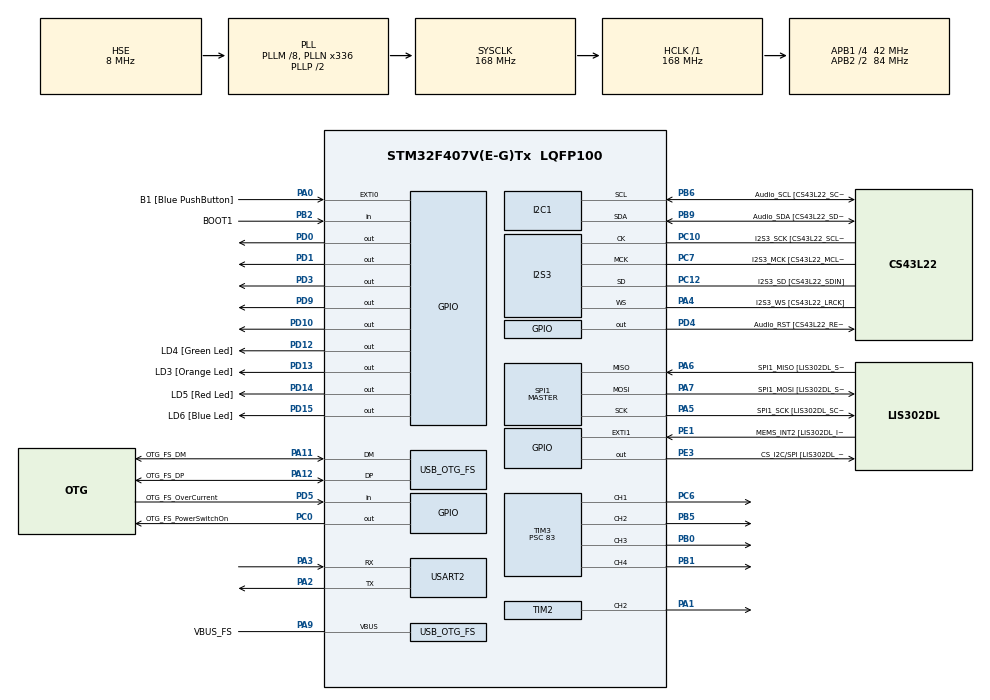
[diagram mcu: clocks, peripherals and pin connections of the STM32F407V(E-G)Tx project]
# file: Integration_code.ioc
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I2S3.AudioFreq-Half_Duplex_Master=I2S_AUDIOFREQ_96K
I2S3.ErrorAudioFreq=-2.34 %
I2S3.ErrorAudioFreq-Half_Duplex_Master=0.8 %
I2S3.FullDuplexMode=I2S_FULLDUPLEXMODE_DISABLE
I2S3.Instance=SPI$Index
I2S3.RealAudioFreq=93.75 KHz
I2S3.RealAudioFreq-Half_Duplex_Master=96.774 KHz
I2S3.VirtualMode=I2S_MODE_MASTER
Mcu.Family=STM32F4
Mcu.Name=STM32F407V(E-G)Tx
Mcu.Package=LQFP100
NVIC.OTG_FS_IRQn=true\:0\:0\:false\:false\:true\:true\:true\:true
NVIC.PriorityGroup=NVIC_PRIORITYGROUP_0
PA0-WKUP.GPIO_Label=B1 [Blue PushButton]
PA0-WKUP.GPIO_ModeDefaultEXTI=GPIO_MODE_EVT_RISING
PA0-WKUP.GPIO_PuPd=GPIO_NOPULL
PA0-WKUP.Signal=GPXTI0
PA1.Signal=S_TIM2_CH2
PA10.GPIO_Label=OTG_FS_ID
PA10.GPIO_Mode=GPIO_MODE_AF_PP
PA10.GPIO_PuPd=GPIO_NOPULL
PA10.GPIO_Speed=GPIO_SPEED_FREQ_LOW
PA10.Signal=USB_OTG_FS_ID
PA11.GPIO_Label=OTG_FS_DM
PA11.GPIO_Mode=GPIO_MODE_AF_PP
PA11.GPIO_PuPd=GPIO_NOPULL
PA11.GPIO_Speed=GPIO_SPEED_FREQ_LOW
PA11.Mode=Host_Only
PA11.Signal=USB_OTG_FS_DM
PA12.GPIO_Label=OTG_FS_DP
PA12.GPIO_Mode=GPIO_MODE_AF_PP
PA12.GPIO_PuPd=GPIO_NOPULL
PA12.GPIO_Speed=GPIO_SPEED_FREQ_LOW
PA12.Mode=Host_Only
PA12.Signal=USB_OTG_FS_DP
PA13.GPIO_Label=SWDIO
PA13.Mode=Serial_Wire
PA13.Signal=SYS_JTMS-SWDIO
PA14.GPIO_Label=SWCLK
PA14.Mode=Serial_Wire
PA14.Signal=SYS_JTCK-SWCLK
PA2.Mode=Asynchronous
PA2.Signal=USART2_TX
PA3.Mode=Asynchronous
PA3.Signal=USART2_RX
PA4.GPIO_Label=I2S3_WS [CS43L22_LRCK]
PA4.GPIO_Mode=GPIO_MODE_AF_PP
PA4.GPIO_PuPd=GPIO_NOPULL
PA4.GPIO_Speed=GPIO_SPEED_FREQ_LOW
PA4.Mode=Half_Duplex_Master
PA4.Signal=I2S3_WS
PA5.GPIO_Label=SPI1_SCK [LIS302DL_SCL/SPC]
PA5.GPIO_Mode=GPIO_MODE_AF_PP
PA5.GPIO_PuPd=GPIO_NOPULL
PA5.GPIO_Speed=GPIO_SPEED_FREQ_LOW
PA5.Mode=Full_Duplex_Master
PA5.Signal=SPI1_SCK
PA6.GPIO_Label=SPI1_MISO [LIS302DL_SDO]
PA6.GPIO_Mode=GPIO_MODE_AF_PP
PA6.GPIO_PuPd=GPIO_NOPULL
PA6.GPIO_Speed=GPIO_SPEED_FREQ_LOW
PA6.Mode=Full_Duplex_Master
PA6.Signal=SPI1_MISO
PA7.GPIO_Label=SPI1_MOSI [LIS302DL_SDA/SDI/SDO]
PA7.GPIO_Mode=GPIO_MODE_AF_PP
PA7.GPIO_PuPd=GPIO_NOPULL
PA7.GPIO_Speed=GPIO_SPEED_FREQ_LOW
PA7.Mode=Full_Duplex_Master
PA7.Signal=SPI1_MOSI
PA9.GPIO_Label=VBUS_FS
PA9.GPIO_Mode=GPIO_MODE_INPUT
PA9.GPIO_PuPd=GPIO_NOPULL
PA9.Mode=Activate_VBUS
PA9.Signal=USB_OTG_FS_VBUS
PB0.Signal=S_TIM3_CH3
PB1.Signal=S_TIM3_CH4
PB10.GPIO_Label=CLK_IN [MP45DT02_CLK]
PB10.GPIO_Mode=GPIO_MODE_AF_PP
PB10.GPIO_PuPd=GPIO_NOPULL
PB10.GPIO_Speed=GPIO_SPEED_FREQ_LOW
PB10.Signal=I2S2_CK
PB2.GPIO_Label=BOOT1
PB2.GPIO_Mode=GPIO_MODE_INPUT
PB2.GPIO_PuPd=GPIO_NOPULL
PB2.Signal=GPIO_Input
PB3.GPIO_Label=SWO
PB3.Signal=SYS_JTDO-SWO
PB5.Signal=S_TIM3_CH2
PB6.GPIO_Label=Audio_SCL [CS43L22_SCL]
PB6.GPIO_Mode=GPIO_MODE_AF_OD
PB6.GPIO_Pu=GPIO_PULLUP
PB6.GPIO_PuPd=GPIO_NOPULL
PB6.GPIO_Speed=GPIO_SPEED_FREQ_LOW
PB6.Mode=I2C
PB6.Signal=I2C1_SCL
PB9.GPIO_Label=Audio_SDA [CS43L22_SDA]
PB9.GPIO_Mode=GPIO_MODE_AF_OD
PB9.GPIO_Pu=GPIO_PULLUP
PB9.GPIO_PuPd=GPIO_NOPULL
PB9.GPIO_Speed=GPIO_SPEED_FREQ_LOW
PB9.Mode=I2C
PB9.Signal=I2C1_SDA
PC0.GPIO_Label=OTG_FS_PowerSwitchOn
PC0.GPIO_PuPd=GPIO_NOPULL
PC0.GPIO_Speed=GPIO_SPEED_FREQ_LOW
PC0.PinState=GPIO_PIN_SET
PC0.Signal=GPIO_Output
PC10.GPIO_Label=I2S3_SCK [CS43L22_SCLK]
PC10.GPIO_Mode=GPIO_MODE_AF_PP
PC10.GPIO_PuPd=GPIO_NOPULL
PC10.GPIO_Speed=GPIO_SPEED_FREQ_LOW
PC10.Mode=Half_Duplex_Master
PC10.Signal=I2S3_CK
PC12.GPIO_Label=I2S3_SD [CS43L22_SDIN]
PC12.GPIO_Mode=GPIO_MODE_AF_PP
PC12.GPIO_PuPd=GPIO_NOPULL
PC12.GPIO_Speed=GPIO_SPEED_FREQ_LOW
PC12.Mode=Half_Duplex_Master
PC12.Signal=I2S3_SD
PC14-OSC32_IN.GPIO_Label=PC14-OSC32_IN
PC14-OSC32_IN.Mode=LSE-External-Oscillator
PC14-OSC32_IN.Signal=RCC_OSC32_IN
PC15-OSC32_OUT.GPIO_Label=PC15-OSC32_OUT
PC15-OSC32_OUT.Mode=LSE-External-Oscillator
PC15-OSC32_OUT.Signal=RCC_OSC32_OUT
PC3.GPIO_Label=PDM_OUT [MP45DT02_DOUT]
PC3.GPIO_Mode=GPIO_MODE_AF_PP
PC3.GPIO_PuPd=GPIO_NOPULL
PC3.GPIO_Speed=GPIO_SPEED_FREQ_LOW
PC3.Signal=I2S2_SD
PC6.Signal=S_TIM3_CH1
PC7.GPIO_Label=I2S3_MCK [CS43L22_MCLK]
PC7.GPIO_Mode=GPIO_MODE_AF_PP
PC7.GPIO_PuPd=GPIO_NOPULL
PC7.GPIO_Speed=GPIO_SPEED_FREQ_LOW
PC7.Mode=Master_Clock_Activated
PC7.Signal=I2S3_MCK
PD0.Signal=GPIO_Output
PD1.Signal=GPIO_Output
PD10.Signal=GPIO_Output
PD12.GPIO_Label=LD4 [Green Led]
PD12.GPIO_PuPd=GPIO_NOPULL
PD12.GPIO_Speed=GPIO_SPEED_FREQ_LOW
PD12.Signal=GPIO_Output
PD13.GPIO_Label=LD3 [Orange Led]
PD13.GPIO_PuPd=GPIO_NOPULL
PD13.GPIO_Speed=GPIO_SPEED_FREQ_LOW
PD13.Signal=GPIO_Output
PD14.GPIO_Label=LD5 [Red Led]
PD14.GPIO_PuPd=GPIO_NOPULL
PD14.GPIO_Speed=GPIO_SPEED_FREQ_LOW
PD14.Signal=GPIO_Output
PD15.GPIO_Label=LD6 [Blue Led]
PD15.GPIO_PuPd=GPIO_NOPULL
PD15.GPIO_Speed=GPIO_SPEED_FREQ_LOW
PD15.Signal=GPIO_Output
PD3.Signal=GPIO_Output
PD4.GPIO_Label=Audio_RST [CS43L22_RESET]
PD4.GPIO_PuPd=GPIO_NOPULL
PD4.GPIO_Speed=GPIO_SPEED_FREQ_LOW
PD4.Signal=GPIO_Output
PD5.GPIO_Label=OTG_FS_OverCurrent
PD5.GPIO_Mode=GPIO_MODE_INPUT
PD5.GPIO_PuPd=GPIO_NOPULL
PD5.Signal=GPIO_Input
PD9.Signal=GPIO_Output
PE1.GPIO_Label=MEMS_INT2 [LIS302DL_INT2]
PE1.GPIO_ModeDefaultEXTI=GPIO_MODE_EVT_RISING
PE1.GPIO_PuPd=GPIO_NOPULL
PE1.Signal=GPXTI1
PE3.GPIO_Label=CS_I2C/SPI [LIS302DL_CS_I2C/SPI]
PE3.GPIO_PuPd=GPIO_NOPULL
PE3.GPIO_Speed=GPIO_SPEED_FREQ_LOW
PE3.Signal=GPIO_Output
PH0-OSC_IN.GPIO_Label=PH0-OSC_IN
PH0-OSC_IN.Mode=HSE-External-Oscillator
PH0-OSC_IN.Signal=RCC_OSC_IN
PH1-OSC_OUT.GPIO_Label=PH1-OSC_OUT
PH1-OSC_OUT.Mode=HSE-External-Oscillator
PH1-OSC_OUT.Signal=RCC_OSC_OUT
ProjectManager.HeapSize=0x200
ProjectManager.StackSize=0x400
ProjectManager.TargetToolchain=STM32CubeIDE
RCC.48MHZClocksFreq_Value=48000000
RCC.AHBFreq_Value=168000000
RCC.APB1CLKDivider=RCC_HCLK_DIV4
RCC.APB1Freq_Value=42000000
RCC.APB1TimFreq_Value=84000000
RCC.APB2CLKDivider=RCC_HCLK_DIV2
RCC.APB2Freq_Value=84000000
RCC.APB2TimFreq_Value=168000000
RCC.CortexFreq_Value=168000000
RCC.HCLKFreq_Value=168000000
RCC.HSE_VALUE=8000000
RCC.HSI_VALUE=16000000
RCC.PLLM=8
RCC.PLLN=336
RCC.PLLQ=7
RCC.SYSCLKFreq_VALUE=168000000
RCC.SYSCLKSource=RCC_SYSCLKSOURCE_PLLCLK
RCC.VCOOutputFreq_Value=336000000
SH.S_TIM2_CH2.0=TIM2_CH2,PWM Generation2 CH2
SH.S_TIM3_CH1.0=TIM3_CH1,PWM Generation1 CH1
SH.S_TIM3_CH2.0=TIM3_CH2,PWM Generation2 CH2
SH.S_TIM3_CH3.0=TIM3_CH3,PWM Generation3 CH3
SH.S_TIM3_CH4.0=TIM3_CH4,PWM Generation4 CH4
SPI1.BaudRatePrescaler-Full_Duplex_Master=SPI_BAUDRATEPRESCALER_2
SPI1.CalculateBaudRate-Full_Duplex_Master=42.0 MBits/s
SPI1.Direction=SPI_DIRECTION_2LINES
SPI1.Mode=SPI_MODE_MASTER
SPI1.Mode-Full_Duplex_Master=SPI_MODE_MASTER
SPI1.VirtualType=VM_MASTER
TIM2.Channel-PWM\ Generation2\ CH2=TIM_CHANNEL_2
TIM2.Prescaler=83
TIM3.Channel-PWM\ Generation1\ CH1=TIM_CHANNEL_1
TIM3.Channel-PWM\ Generation2\ CH2=TIM_CHANNEL_2
TIM3.Channel-PWM\ Generation3\ CH3=TIM_CHANNEL_3
TIM3.Channel-PWM\ Generation4\ CH4=TIM_CHANNEL_4
TIM3.Prescaler=83
USART2.VirtualMode=VM_ASYNC
USB_HOST.BSP.number=1
USB_HOST.USBH_HandleTypeDef-CDC_FS=hUsbHostFS
USB_HOST.VirtualModeFS=Cdc
USB_HOST0.BSP.STBoard=false
USB_HOST0.BSP.api=Unknown
USB_HOST0.BSP.instance=PC0
USB_HOST0.BSP.ip=GPIO
USB_HOST0.BSP.mode=Output
USB_HOST0.BSP.name=Drive_VBUS_FS
USB_HOST0.BSP.solution=PC0
USB_OTG_FS.VirtualMode=Host_Only
USB_OTG_FS.phy_itface=HCD_PHY_EMBEDDED
VP_USB_HOST_VS_USB_HOST_CDC_FS.Mode=CDC_FS
board=STM32F407G-DISC1

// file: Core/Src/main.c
/* USER CODE BEGIN Header */
/**
  ******************************************************************************
  * @file           : main.c
  * @brief          : Main program body
  ******************************************************************************
  * @attention
  *
  * Copyright (c) 2025 STMicroelectronics.
  * All rights reserved.
  *
  * This software is licensed under terms that can be found in the LICENSE file
  * in the root directory of this software component.
  * If no LICENSE file comes with this software, it is provided AS-IS.
  *
  ******************************************************************************
  */
/* USER CODE END Header */
#include "main.h"
#include "usb_host.h"

/* USER CODE BEGIN Includes */
#include <stdio.h>
#include <string.h>
#include <stdint.h>
#include <stdlib.h>
#include <math.h>
#include "bot.h"
//#include "user.h"
//#include "locomotion.h"

/* USER CODE END Includes */

I2C_HandleTypeDef hi2c1;

I2S_HandleTypeDef hi2s3;

SPI_HandleTypeDef hspi1;

TIM_HandleTypeDef htim2;
TIM_HandleTypeDef htim3;

UART_HandleTypeDef huart2;

/* USER CODE BEGIN PV */

//const uint8_t m1_dir_pin;
//const uint8_t m2_dir_pin;
//const uint8_t m3_dir_pin;
//const uint8_t m4_dir_pin;

/* USER CODE END PV */

void SystemClock_Config(void);
static void MX_GPIO_Init(void);
static void MX_I2C1_Init(void);
static void MX_I2S3_Init(void);
static void MX_SPI1_Init(void);
static void MX_TIM2_Init(void);
static void MX_USART2_UART_Init(void);
static void MX_TIM3_Init(void);
void MX_USB_HOST_Process(void);

int main(void)
{

  /* MCU Configuration--------------------------------------------------------*/

  /* Reset of all peripherals, Initializes the Flash interface and the Systick. */

  /* Configure the system clock */
  SystemClock_Config();

  /* Initialize all configured peripherals */
  MX_GPIO_Init();
  MX_I2C1_Init();
  MX_I2S3_Init();
  MX_SPI1_Init();
  MX_USB_HOST_Init();
  MX_TIM2_Init();
  MX_USART2_UART_Init();
  MX_TIM3_Init();

  /* Infinite loop */
  /* USER CODE BEGIN WHILE */
  HAL_TIM_PWM_Start(&htim3, TIM_CHANNEL_1);
  HAL_TIM_PWM_Start(&htim3, TIM_CHANNEL_2);
  HAL_TIM_PWM_Start(&htim3, TIM_CHANNEL_3);
  HAL_TIM_PWM_Start(&htim3, TIM_CHANNEL_4);

  printf("STM32 Ready\n");
  Servo_WriteAngle(&htim2, INITIAL_ANGLE);
  while (1)
  {
	  recieve_uart(&huart2);
//	  printf("LX = %.2f | LY = %.2f", LX_usr, LY_usr);
	  lo_4_wheel_handler(&htim3);
//	  rx_pkt.lx = 0;
//	  rx_pkt.ly = 0;
//	  rx_pkt.ry = 0;
//	  rx_pkt.ry = 0;
//
//	  LX_usr = 0;
//	  LY_usr = 0;
//	  RX_usr = 0;
//	  RY_usr = 0;

	  pnuematic_actuation();
    /* USER CODE END WHILE */
    MX_USB_HOST_Process();

  }
}

void SystemClock_Config(void)
{
  RCC_OscInitTypeDef RCC_OscInitStruct = {0};
  RCC_ClkInitTypeDef RCC_ClkInitStruct = {0};

  /** Configure the main internal regulator output voltage
  */
  __HAL_RCC_PWR_CLK_ENABLE();
  __HAL_PWR_VOLTAGESCALING_CONFIG(PWR_REGULATOR_VOLTAGE_SCALE1);

  /** Initializes the RCC Oscillators according to the specified parameters
  * in the RCC_OscInitTypeDef structure.
  */
  RCC_OscInitStruct.OscillatorType = RCC_OSCILLATORTYPE_HSE;
  RCC_OscInitStruct.HSEState = RCC_HSE_ON;
  RCC_OscInitStruct.PLL.PLLState = RCC_PLL_ON;
  RCC_OscInitStruct.PLL.PLLSource = RCC_PLLSOURCE_HSE;
  RCC_OscInitStruct.PLL.PLLM = 8;
  RCC_OscInitStruct.PLL.PLLN = 336;
  RCC_OscInitStruct.PLL.PLLP = RCC_PLLP_DIV2;
  RCC_OscInitStruct.PLL.PLLQ = 7;
  if (HAL_RCC_OscConfig(&RCC_OscInitStruct) != HAL_OK)
  {
    Error_Handler();
  }

  /** Initializes the CPU, AHB and APB buses clocks
  */
  RCC_ClkInitStruct.ClockType = RCC_CLOCKTYPE_HCLK|RCC_CLOCKTYPE_SYSCLK
                              |RCC_CLOCKTYPE_PCLK1|RCC_CLOCKTYPE_PCLK2;
  RCC_ClkInitStruct.SYSCLKSource = RCC_SYSCLKSOURCE_PLLCLK;
  RCC_ClkInitStruct.AHBCLKDivider = RCC_SYSCLK_DIV1;
  RCC_ClkInitStruct.APB1CLKDivider = RCC_HCLK_DIV4;
  RCC_ClkInitStruct.APB2CLKDivider = RCC_HCLK_DIV2;

  if (HAL_RCC_ClockConfig(&RCC_ClkInitStruct, FLASH_LATENCY_5) != HAL_OK)
  {
    Error_Handler();
  }
}

static void MX_I2C1_Init(void)
{

  hi2c1.Instance = I2C1;
  hi2c1.Init.ClockSpeed = 100000;
  hi2c1.Init.DutyCycle = I2C_DUTYCYCLE_2;
  hi2c1.Init.OwnAddress1 = 0;
  hi2c1.Init.AddressingMode = I2C_ADDRESSINGMODE_7BIT;
  hi2c1.Init.DualAddressMode = I2C_DUALADDRESS_DISABLE;
  hi2c1.Init.OwnAddress2 = 0;
  hi2c1.Init.GeneralCallMode = I2C_GENERALCALL_DISABLE;
  hi2c1.Init.NoStretchMode = I2C_NOSTRETCH_DISABLE;
  if (HAL_I2C_Init(&hi2c1) != HAL_OK)
  {
    Error_Handler();
  }

}

static void MX_I2S3_Init(void)
{

  hi2s3.Instance = SPI3;
  hi2s3.Init.Mode = I2S_MODE_MASTER_TX;
  hi2s3.Init.Standard = I2S_STANDARD_PHILIPS;
  hi2s3.Init.DataFormat = I2S_DATAFORMAT_16B;
  hi2s3.Init.MCLKOutput = I2S_MCLKOUTPUT_ENABLE;
  hi2s3.Init.AudioFreq = I2S_AUDIOFREQ_96K;
  hi2s3.Init.CPOL = I2S_CPOL_LOW;
  hi2s3.Init.ClockSource = I2S_CLOCK_PLL;
  hi2s3.Init.FullDuplexMode = I2S_FULLDUPLEXMODE_DISABLE;
  if (HAL_I2S_Init(&hi2s3) != HAL_OK)
  {
    Error_Handler();
  }

}

static void MX_SPI1_Init(void)
{

  /* SPI1 parameter configuration*/
  hspi1.Instance = SPI1;
  hspi1.Init.Mode = SPI_MODE_MASTER;
  hspi1.Init.Direction = SPI_DIRECTION_2LINES;
  hspi1.Init.DataSize = SPI_DATASIZE_8BIT;
  hspi1.Init.CLKPolarity = SPI_POLARITY_LOW;
  hspi1.Init.CLKPhase = SPI_PHASE_1EDGE;
  hspi1.Init.NSS = SPI_NSS_SOFT;
  hspi1.Init.BaudRatePrescaler = SPI_BAUDRATEPRESCALER_2;
  hspi1.Init.FirstBit = SPI_FIRSTBIT_MSB;
  hspi1.Init.TIMode = SPI_TIMODE_DISABLE;
  hspi1.Init.CRCCalculation = SPI_CRCCALCULATION_DISABLE;
  hspi1.Init.CRCPolynomial = 10;
  if (HAL_SPI_Init(&hspi1) != HAL_OK)
  {
    Error_Handler();
  }

}

static void MX_TIM2_Init(void)
{

  TIM_MasterConfigTypeDef sMasterConfig = {0};
  TIM_OC_InitTypeDef sConfigOC = {0};

  htim2.Instance = TIM2;
  htim2.Init.Prescaler = 83;
  htim2.Init.CounterMode = TIM_COUNTERMODE_UP;
  htim2.Init.Period = 19999;
  htim2.Init.ClockDivision = TIM_CLOCKDIVISION_DIV1;
  htim2.Init.AutoReloadPreload = TIM_AUTORELOAD_PRELOAD_DISABLE;
  if (HAL_TIM_PWM_Init(&htim2) != HAL_OK)
  {
    Error_Handler();
  }
  sMasterConfig.MasterOutputTrigger = TIM_TRGO_RESET;
  sMasterConfig.MasterSlaveMode = TIM_MASTERSLAVEMODE_DISABLE;
  if (HAL_TIMEx_MasterConfigSynchronization(&htim2, &sMasterConfig) != HAL_OK)
  {
    Error_Handler();
  }
  sConfigOC.OCMode = TIM_OCMODE_PWM1;
  sConfigOC.Pulse = 0;
  sConfigOC.OCPolarity = TIM_OCPOLARITY_HIGH;
  sConfigOC.OCFastMode = TIM_OCFAST_DISABLE;
  if (HAL_TIM_PWM_ConfigChannel(&htim2, &sConfigOC, TIM_CHANNEL_2) != HAL_OK)
  {
    Error_Handler();
  }
  HAL_TIM_MspPostInit(&htim2);

}

static void MX_TIM3_Init(void)
{

  TIM_MasterConfigTypeDef sMasterConfig = {0};
  TIM_OC_InitTypeDef sConfigOC = {0};

  htim3.Instance = TIM3;
  htim3.Init.Prescaler = 83;
  htim3.Init.CounterMode = TIM_COUNTERMODE_UP;
  htim3.Init.Period = 999;
  htim3.Init.ClockDivision = TIM_CLOCKDIVISION_DIV1;
  htim3.Init.AutoReloadPreload = TIM_AUTORELOAD_PRELOAD_DISABLE;
  if (HAL_TIM_PWM_Init(&htim3) != HAL_OK)
  {
    Error_Handler();
  }
  sMasterConfig.MasterOutputTrigger = TIM_TRGO_RESET;
  sMasterConfig.MasterSlaveMode = TIM_MASTERSLAVEMODE_DISABLE;
  if (HAL_TIMEx_MasterConfigSynchronization(&htim3, &sMasterConfig) != HAL_OK)
  {
    Error_Handler();
  }
  sConfigOC.OCMode = TIM_OCMODE_PWM1;
  sConfigOC.Pulse = 0;
  sConfigOC.OCPolarity = TIM_OCPOLARITY_HIGH;
  sConfigOC.OCFastMode = TIM_OCFAST_DISABLE;
  if (HAL_TIM_PWM_ConfigChannel(&htim3, &sConfigOC, TIM_CHANNEL_1) != HAL_OK)
  {
    Error_Handler();
  }
  if (HAL_TIM_PWM_ConfigChannel(&htim3, &sConfigOC, TIM_CHANNEL_2) != HAL_OK)
  {
    Error_Handler();
  }
  if (HAL_TIM_PWM_ConfigChannel(&htim3, &sConfigOC, TIM_CHANNEL_3) != HAL_OK)
  {
    Error_Handler();
  }
  if (HAL_TIM_PWM_ConfigChannel(&htim3, &sConfigOC, TIM_CHANNEL_4) != HAL_OK)
  {
    Error_Handler();
  }
  HAL_TIM_MspPostInit(&htim3);

}

static void MX_USART2_UART_Init(void)
{

  huart2.Instance = USART2;
  huart2.Init.BaudRate = 115200;
  huart2.Init.WordLength = UART_WORDLENGTH_8B;
  huart2.Init.StopBits = UART_STOPBITS_1;
  huart2.Init.Parity = UART_PARITY_NONE;
  huart2.Init.Mode = UART_MODE_TX_RX;
  huart2.Init.HwFlowCtl = UART_HWCONTROL_NONE;
  huart2.Init.OverSampling = UART_OVERSAMPLING_16;
  if (HAL_UART_Init(&huart2) != HAL_OK)
  {
    Error_Handler();
  }

}

static void MX_GPIO_Init(void)
{
  GPIO_InitTypeDef GPIO_InitStruct = {0};

  /* GPIO Ports Clock Enable */
  __HAL_RCC_GPIOE_CLK_ENABLE();
  __HAL_RCC_GPIOC_CLK_ENABLE();
  __HAL_RCC_GPIOH_CLK_ENABLE();
  __HAL_RCC_GPIOA_CLK_ENABLE();
  __HAL_RCC_GPIOB_CLK_ENABLE();
  __HAL_RCC_GPIOD_CLK_ENABLE();

  /*Configure GPIO pin Output Level */
  HAL_GPIO_WritePin(CS_I2C_SPI_GPIO_Port, CS_I2C_SPI_Pin, GPIO_PIN_RESET);

  /*Configure GPIO pin Output Level */
  HAL_GPIO_WritePin(OTG_FS_PowerSwitchOn_GPIO_Port, OTG_FS_PowerSwitchOn_Pin, GPIO_PIN_SET);

  /*Configure GPIO pin Output Level */
  HAL_GPIO_WritePin(GPIOD, GPIO_PIN_9|GPIO_PIN_10|LD4_Pin|LD3_Pin
                          |LD5_Pin|LD6_Pin|GPIO_PIN_0|GPIO_PIN_1
                          |GPIO_PIN_3|Audio_RST_Pin, GPIO_PIN_RESET);

  /*Configure GPIO pin : CS_I2C_SPI_Pin */
  GPIO_InitStruct.Pin = CS_I2C_SPI_Pin;
  GPIO_InitStruct.Mode = GPIO_MODE_OUTPUT_PP;
  GPIO_InitStruct.Pull = GPIO_NOPULL;
  GPIO_InitStruct.Speed = GPIO_SPEED_FREQ_LOW;
  HAL_GPIO_Init(CS_I2C_SPI_GPIO_Port, &GPIO_InitStruct);

  /*Configure GPIO pin : OTG_FS_PowerSwitchOn_Pin */
  GPIO_InitStruct.Pin = OTG_FS_PowerSwitchOn_Pin;
  GPIO_InitStruct.Mode = GPIO_MODE_OUTPUT_PP;
  GPIO_InitStruct.Pull = GPIO_NOPULL;
  GPIO_InitStruct.Speed = GPIO_SPEED_FREQ_LOW;
  HAL_GPIO_Init(OTG_FS_PowerSwitchOn_GPIO_Port, &GPIO_InitStruct);

  /*Configure GPIO pin : PDM_OUT_Pin */
  GPIO_InitStruct.Pin = PDM_OUT_Pin;
  GPIO_InitStruct.Mode = GPIO_MODE_AF_PP;
  GPIO_InitStruct.Pull = GPIO_NOPULL;
  GPIO_InitStruct.Speed = GPIO_SPEED_FREQ_LOW;
  GPIO_InitStruct.Alternate = GPIO_AF5_SPI2;
  HAL_GPIO_Init(PDM_OUT_GPIO_Port, &GPIO_InitStruct);

  /*Configure GPIO pin : B1_Pin */
  GPIO_InitStruct.Pin = B1_Pin;
  GPIO_InitStruct.Mode = GPIO_MODE_EVT_RISING;
  GPIO_InitStruct.Pull = GPIO_NOPULL;
  HAL_GPIO_Init(B1_GPIO_Port, &GPIO_InitStruct);

  /*Configure GPIO pin : BOOT1_Pin */
  GPIO_InitStruct.Pin = BOOT1_Pin;
  GPIO_InitStruct.Mode = GPIO_MODE_INPUT;
  GPIO_InitStruct.Pull = GPIO_NOPULL;
  HAL_GPIO_Init(BOOT1_GPIO_Port, &GPIO_InitStruct);

  /*Configure GPIO pin : CLK_IN_Pin */
  GPIO_InitStruct.Pin = CLK_IN_Pin;
  GPIO_InitStruct.Mode = GPIO_MODE_AF_PP;
  GPIO_InitStruct.Pull = GPIO_NOPULL;
  GPIO_InitStruct.Speed = GPIO_SPEED_FREQ_LOW;
  GPIO_InitStruct.Alternate = GPIO_AF5_SPI2;
  HAL_GPIO_Init(CLK_IN_GPIO_Port, &GPIO_InitStruct);

  /*Configure GPIO pins : PD9 PD10 LD4_Pin LD3_Pin
                           LD5_Pin LD6_Pin PD0 PD1
                           PD3 Audio_RST_Pin */
  GPIO_InitStruct.Pin = GPIO_PIN_9|GPIO_PIN_10|LD4_Pin|LD3_Pin
                          |LD5_Pin|LD6_Pin|GPIO_PIN_0|GPIO_PIN_1
                          |GPIO_PIN_3|Audio_RST_Pin;
  GPIO_InitStruct.Mode = GPIO_MODE_OUTPUT_PP;
  GPIO_InitStruct.Pull = GPIO_NOPULL;
  GPIO_InitStruct.Speed = GPIO_SPEED_FREQ_LOW;
  HAL_GPIO_Init(GPIOD, &GPIO_InitStruct);

  /*Configure GPIO pin : OTG_FS_OverCurrent_Pin */
  GPIO_InitStruct.Pin = OTG_FS_OverCurrent_Pin;
  GPIO_InitStruct.Mode = GPIO_MODE_INPUT;
  GPIO_InitStruct.Pull = GPIO_NOPULL;
  HAL_GPIO_Init(OTG_FS_OverCurrent_GPIO_Port, &GPIO_InitStruct);

  /*Configure GPIO pin : MEMS_INT2_Pin */
  GPIO_InitStruct.Pin = MEMS_INT2_Pin;
  GPIO_InitStruct.Mode = GPIO_MODE_EVT_RISING;
  GPIO_InitStruct.Pull = GPIO_NOPULL;
  HAL_GPIO_Init(MEMS_INT2_GPIO_Port, &GPIO_InitStruct);

}

void Error_Handler(void)
{
  __disable_irq();
  while (1)
  {
  }
}
